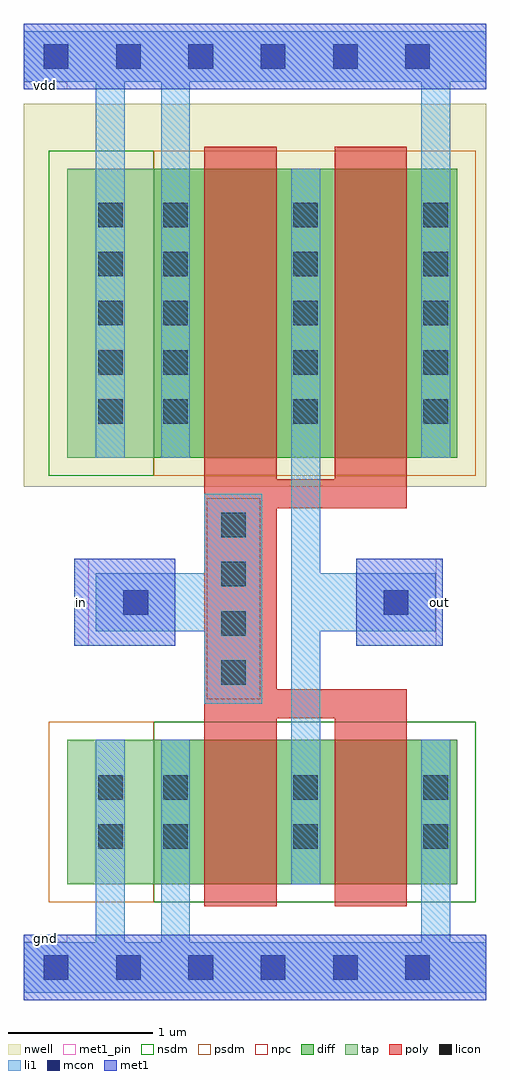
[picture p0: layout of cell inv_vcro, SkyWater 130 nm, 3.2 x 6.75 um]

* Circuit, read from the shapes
.subckt inv_vcro gnd in out vdd
XM1 out in gnd gnd sky130_fd_pr__nfet_01v8 w=1 l=0.5 m=2
XM2 out in vdd vdd sky130_fd_pr__pfet_01v8 w=2 l=0.5 m=2
.ends

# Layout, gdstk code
import gdstk
lib = gdstk.Library(unit=1e-6, precision=1e-09)
def R(c, l, rs):  # rectangles x0, y0, x1, y1
    for r in rs: c.add(gdstk.rectangle(r[:2], r[2:], *l))
def A(c, l, x, y, w, h, nx, ny, dx, dy):  # array of equal rectangles
    R(c, l, [(x+i*dx, y+j*dy, x+i*dx+w, y+j*dy+h) for i in range(nx) for j in range(ny)])
nwell = (64, 20)
diff = (65, 20)
tap = (65, 44)
poly = (66, 20)
licon = (66, 44)
li1 = (67, 20)
mcon = (67, 44)
met1_pin = (68, 16)
met1 = (68, 20)
nsdm = (93, 44)
psdm = (94, 20)
npc = (95, 20)

inv_vcro = lib.new_cell('inv_vcro')
R(inv_vcro, nwell, [(-1,2.6,2.2,5.25)])
R(inv_vcro, diff, [(-0.1,-0.15,2,0.85), (-0.1,2.8,2,4.8)])
R(inv_vcro, tap, [(-0.7,-0.15,-0.1,0.85), (-0.7,2.8,-0.1,4.8)])
R(inv_vcro, poly, [(0.25,-0.3,0.75,1), (1.15,-0.3,1.65,1), (0.25,1,1.65,1.2), (0.25,1.2,0.75,2.45), (0.25,2.45,1.65,2.65), (0.25,2.65,0.75,4.95), (1.15,2.65,1.65,4.95)])
A(inv_vcro, licon, -0.035, 0.095, 0.17, 0.17, 3, 2, 0.9, 0.34)
A(inv_vcro, licon, 0.365, 1.23, 0.17, 0.17, 1, 4, 0, 0.34)
A(inv_vcro, licon, -0.485, 3.035, 0.17, 0.17, 1, 5, 0, 0.34)
A(inv_vcro, licon, -0.035, 3.035, 0.17, 0.17, 3, 5, 0.9, 0.34)
R(inv_vcro, licon, [(-0.485,0.095,-0.315,0.265), (-0.485,0.435,-0.315,0.605)])
R(inv_vcro, li1, [(-1,-0.9,2.2,-0.55), (-0.5,-0.55,-0.3,0.85), (-0.05,-0.55,0.15,0.85), (1.75,-0.55,1.95,0.85), (0.85,-0.15,1.05,1.6), (0.25,1.1,0.65,1.6), (-0.5,1.6,0.65,2), (0.85,1.6,1.85,2), (0.25,2,0.65,2.55), (0.85,2,1.05,4.8), (-0.5,2.8,-0.3,5.4), (-0.05,2.8,0.15,5.4), (1.75,2.8,1.95,5.4), (-1,5.4,2.2,5.75)])
A(inv_vcro, mcon, -0.86, -0.81, 0.17, 0.17, 6, 2, 0.5, 6.3)
R(inv_vcro, mcon, [(-0.31,1.715,-0.14,1.885), (1.49,1.715,1.66,1.885)])
R(inv_vcro, met1_pin, [(-1,-0.55,-0.7,-0.5), (-0.65,1.5,-0.55,2.1), (1.85,1.5,1.9,2.1), (-1,5.35,-0.7,5.4)])
R(inv_vcro, met1, [(-1,-0.95,2.2,-0.5), (-0.65,1.5,0.05,2.1), (1.3,1.5,1.9,2.1), (-1,5.35,2.2,5.8)])
R(inv_vcro, nsdm, [(-0.1,-0.275,2.125,0.975), (-0.825,2.675,-0.1,4.925)])
R(inv_vcro, psdm, [(-0.825,-0.275,-0.1,0.975), (-0.1,2.675,2.125,4.925)])
R(inv_vcro, npc, [(0.265,1.13,0.635,2.52)])
inv_vcro.add(gdstk.Label('in', (-0.6,1.8), layer=68, texttype=5))
inv_vcro.add(gdstk.Label('vdd', (-0.85,5.375), layer=68, texttype=5))
inv_vcro.add(gdstk.Label('out', (1.875,1.8), layer=68, texttype=5))
inv_vcro.add(gdstk.Label('gnd', (-0.85,-0.525), layer=68, texttype=5))

lib.write_gds('inv_vcro.gds')
